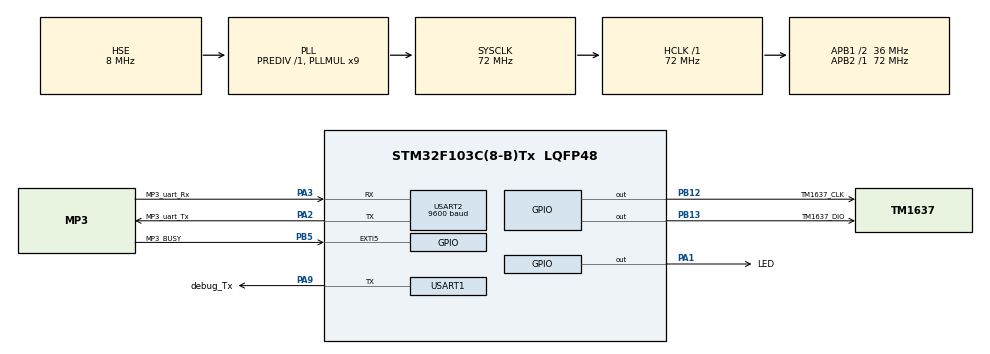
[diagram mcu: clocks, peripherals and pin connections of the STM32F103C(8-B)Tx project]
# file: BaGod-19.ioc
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Mcu.Family=STM32F1
Mcu.Name=STM32F103C(8-B)Tx
Mcu.Package=LQFP48
NVIC.EXTI9_5_IRQn=true\:0\:0\:false\:false\:true\:true\:true\:true
NVIC.PriorityGroup=NVIC_PRIORITYGROUP_4
NVIC.TIM3_IRQn=true\:0\:0\:false\:false\:true\:true\:true\:true
PA1.GPIO_Label=LED
PA1.Signal=GPIO_Output
PA13.Mode=Serial_Wire
PA13.Signal=SYS_JTMS-SWDIO
PA14.Mode=Serial_Wire
PA14.Signal=SYS_JTCK-SWCLK
PA2.GPIO_Label=MP3_uart_Tx
PA2.Mode=Asynchronous
PA2.Signal=USART2_TX
PA3.GPIO_Label=MP3_uart_Rx
PA3.Mode=Asynchronous
PA3.Signal=USART2_RX
PA9.GPIO_Label=debug_Tx
PA9.Mode=Half_duplex(single_wire_mode)
PA9.Signal=USART1_TX
PB12.GPIO_Label=TM1637_CLK
PB12.Signal=GPIO_Output
PB13.GPIO_Label=TM1637_DIO
PB13.Signal=GPIO_Output
PB5.GPIO_Label=MP3_BUSY
PB5.GPIO_PuPd=GPIO_PULLUP
PB5.Signal=GPXTI5
PD0-OSC_IN.Mode=HSE-External-Oscillator
PD0-OSC_IN.Signal=RCC_OSC_IN
PD1-OSC_OUT.Mode=HSE-External-Oscillator
PD1-OSC_OUT.Signal=RCC_OSC_OUT
ProjectManager.HeapSize=0x200
ProjectManager.StackSize=0x400
ProjectManager.TargetToolchain=STM32CubeIDE
RCC.AHBFreq_Value=72000000
RCC.APB1CLKDivider=RCC_HCLK_DIV2
RCC.APB1Freq_Value=36000000
RCC.APB1TimFreq_Value=72000000
RCC.APB2Freq_Value=72000000
RCC.APB2TimFreq_Value=72000000
RCC.HCLKFreq_Value=72000000
RCC.PLLMUL=RCC_PLL_MUL9
RCC.PLLSourceVirtual=RCC_PLLSOURCE_HSE
RCC.SYSCLKFreq_VALUE=72000000
RCC.SYSCLKSource=RCC_SYSCLKSOURCE_PLLCLK
RCC.USBFreq_Value=72000000
TIM3.Period=40000-1
TIM3.Prescaler=18000-1
USART1.BaudRate=62500
USART1.Mode=MODE_TX
USART1.VirtualMode=VM_ASYNC
USART2.BaudRate=9600
USART2.VirtualMode=VM_ASYNC
VP_TIM3_VS_ClockSourceINT.Mode=Internal
board=custom

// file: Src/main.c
/* USER CODE BEGIN Header */
/**
  ******************************************************************************
  * @file           : main.c
  * @brief          : Main program body
  ******************************************************************************
  * @attention
  *
  * Copyright (c) 2026 STMicroelectronics.
  * All rights reserved.
  *
  * This software is licensed under terms that can be found in the LICENSE file
  * in the root directory of this software component.
  * If no LICENSE file comes with this software, it is provided AS-IS.
  *
  ******************************************************************************
  */
/* USER CODE END Header */
#include "main.h"
#include "tim.h"
#include "usart.h"
#include "gpio.h"

/* USER CODE BEGIN Includes */

	#include "string.h"
	#include "stdio.h"
	#include "local_config.h"
	#include "yx5200_sm.h"
	#include "tm1637_sm.h"
	#include "debug_gx.h"

/* USER CODE END Includes */

/* USER CODE BEGIN PV */
/* Private variables ---------------------------------------------------------*/

	volatile  uint8_t	   time_to_beep_u8 = 0 ;		// base on TIm3

	tm1637_struct 	h1_tm1637;
	yx5200_struct 	h1_yx5200;

/* USER CODE END PV */

void SystemClock_Config(void);
/* USER CODE BEGIN PFP */
/* Private function prototypes -----------------------------------------------*/

/* USER CODE END PFP */

int main(void)
{

  /* MCU Configuration--------------------------------------------------------*/

  /* Reset of all peripherals, Initializes the Flash interface and the Systick. */
  HAL_Init();

  /* Configure the system clock */
  SystemClock_Config();

  /* Initialize all configured peripherals */
  MX_GPIO_Init();
  MX_TIM3_Init();
  MX_USART1_UART_Init();
  MX_USART2_UART_Init();
  /* USER CODE BEGIN 2 */

	DWT_Delay_Init();
	//PC13_HotFix();
	DebugSoftVersion(SOFT_VERSION);
	DBG1("\t BaGod-19 & stm32F103\r\n");
	DBG1("\t   board: JM-Electron\r\n ");
	DBG2("\t debugTx: PA9, UART1, 62500\r\n");
	DBG3("\t USART1->BRR: %lx\r\n", USART1->BRR);
	DBG2("\t     LED: PA1 (need Push Pull) \r\n");

	h1_yx5200.uart		= &MP3_UART;
	h1_yx5200.busy_pin	= MP3_BUSY_Pin;
	h1_yx5200.busy_port	= MP3_BUSY_GPIO_Port;

	h1_tm1637.clk_pin  = TM1637_CLK_Pin;
	h1_tm1637.clk_port = TM1637_CLK_GPIO_Port;
	h1_tm1637.dio_pin  = TM1637_DIO_Pin;
	h1_tm1637.dio_port = TM1637_DIO_GPIO_Port;
	h1_tm1637.digit_qnt= 4;	// or 4 for 4 digits
	TM1637_Init(&h1_tm1637);
	TM1637_Set_Brightness(&h1_tm1637, bright_15percent);
	TM1637_Display_Decimal(&h1_tm1637, 1234, double_dot, symbol_dec);

	MP3_YX5200_Init(&h1_yx5200);

	HAL_GPIO_WritePin(LED_GPIO_Port, LED_Pin, SET);
	DBG1("Start\r\n");

	MP3_YX5200_Play_with_index(&h1_yx5200, 1001);
	MP3_YX5200_Play_with_index(&h1_yx5200, 1103);
	MP3_YX5200_Play_with_index(&h1_yx5200, 1218);
	MP3_YX5200_Play_with_index(&h1_yx5200, 1302);
	MP3_YX5200_Play_with_index(&h1_yx5200, 1426);
	MP3_YX5200_Play_with_index(&h1_yx5200, 1512);
	MP3_YX5200_Play_with_index(&h1_yx5200, 1618);
	MP3_YX5200_Play_with_index(&h1_yx5200, 1736);
	MP3_YX5200_Play_with_index(&h1_yx5200, 2175);
	MP3_YX5200_Play_with_index(&h1_yx5200, 2220);
	MP3_YX5200_Play_with_index(&h1_yx5200, 2477);

	HAL_TIM_Base_Start_IT(&htim3);
	time_to_beep_u8 = 0;

  /* USER CODE END 2 */

  /* Infinite loop */
  /* USER CODE BEGIN WHILE */
  while (1) {
	if (time_to_beep_u8 == 1 ) {
		time_to_beep_u8 = 0;
		DBG1("\r\nRTC-IRQ\r\n");
		MP3_YX5200_Play_with_index(&h1_yx5200, 1000);
		MP3_YX5200_Play_with_index(&h1_yx5200, 1000);
		MP3_YX5200_Play_with_index(&h1_yx5200, 1512);
		MP3_YX5200_Play_with_index(&h1_yx5200, 1618);
		MP3_YX5200_Play_with_index(&h1_yx5200, 1736);
	}

    /* USER CODE END WHILE */

  }
}

void SystemClock_Config(void)
{
  RCC_OscInitTypeDef RCC_OscInitStruct = {0};
  RCC_ClkInitTypeDef RCC_ClkInitStruct = {0};

  /** Initializes the RCC Oscillators according to the specified parameters
  * in the RCC_OscInitTypeDef structure.
  */
  RCC_OscInitStruct.OscillatorType = RCC_OSCILLATORTYPE_HSE;
  RCC_OscInitStruct.HSEState = RCC_HSE_ON;
  RCC_OscInitStruct.HSEPredivValue = RCC_HSE_PREDIV_DIV1;
  RCC_OscInitStruct.HSIState = RCC_HSI_ON;
  RCC_OscInitStruct.PLL.PLLState = RCC_PLL_ON;
  RCC_OscInitStruct.PLL.PLLSource = RCC_PLLSOURCE_HSE;
  RCC_OscInitStruct.PLL.PLLMUL = RCC_PLL_MUL9;
  if (HAL_RCC_OscConfig(&RCC_OscInitStruct) != HAL_OK)
  {
    Error_Handler();
  }

  /** Initializes the CPU, AHB and APB buses clocks
  */
  RCC_ClkInitStruct.ClockType = RCC_CLOCKTYPE_HCLK|RCC_CLOCKTYPE_SYSCLK
                              |RCC_CLOCKTYPE_PCLK1|RCC_CLOCKTYPE_PCLK2;
  RCC_ClkInitStruct.SYSCLKSource = RCC_SYSCLKSOURCE_PLLCLK;
  RCC_ClkInitStruct.AHBCLKDivider = RCC_SYSCLK_DIV1;
  RCC_ClkInitStruct.APB1CLKDivider = RCC_HCLK_DIV2;
  RCC_ClkInitStruct.APB2CLKDivider = RCC_HCLK_DIV1;

  if (HAL_RCC_ClockConfig(&RCC_ClkInitStruct, FLASH_LATENCY_2) != HAL_OK)
  {
    Error_Handler();
  }
}

void Error_Handler(void)
{
  while(1)
  {
  }
}
